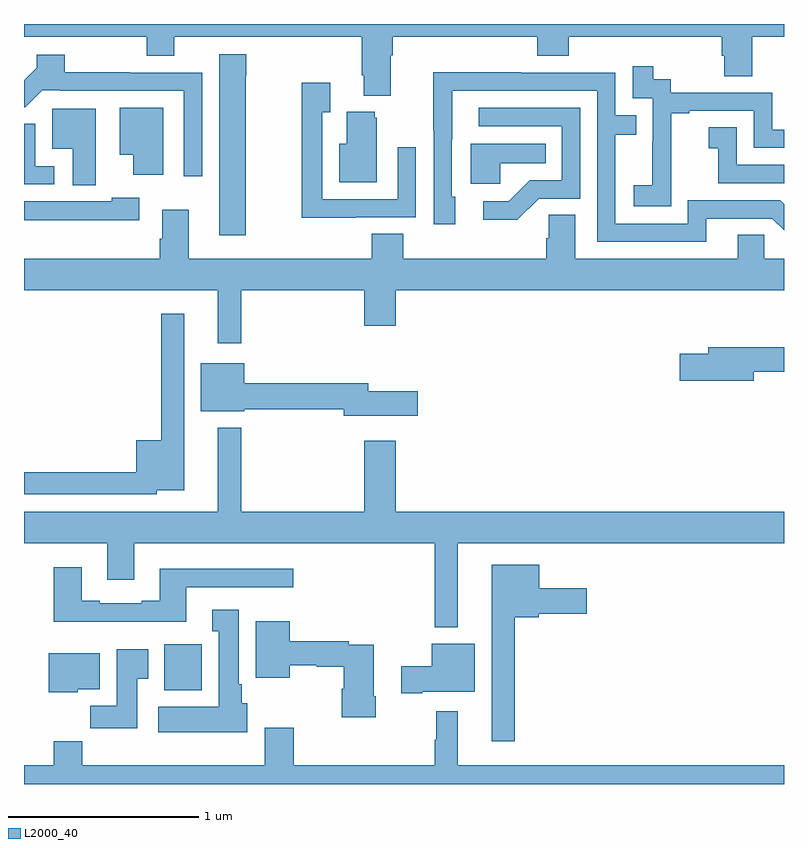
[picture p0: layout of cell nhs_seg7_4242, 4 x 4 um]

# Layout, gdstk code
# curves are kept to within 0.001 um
import gdstk
lib = gdstk.Library(unit=1e-6, precision=1e-09)
def R(c, l, rs):  # rectangles x0, y0, x1, y1
    for r in rs: c.add(gdstk.rectangle(r[:2], r[2:], *l))
def P(c, l, *ps):  # polygons
    for p in ps: c.add(gdstk.Polygon(p, *l))
L2000_40 = (2000, 40)

nhs_seg7_4242 = lib.new_cell('nhs_seg7_4242')
R(nhs_seg7_4242, L2000_40, [(379.739,1014.494,379.936,1014.736)])
P(nhs_seg7_4242, L2000_40, [(380.929,1017.836),(380.942,1017.836),(380.942,1017.932),(381.701,1017.932),(381.701,1017.833),(381.866,1017.833),(381.866,1017.932),(382.673,1017.932),(382.673,1017.834),(382.685,1017.834),(382.685,1017.724),(382.833,1017.724),(382.833,1017.932),(383,1017.932),(383,1018),(379,1018),(379,1017.932),(379.645,1017.932),(379.645,1017.833),(379.792,1017.833),(379.792,1017.932),(380.777,1017.932),(380.777,1017.73),(380.789,1017.73),(380.789,1017.623),(380.929,1017.623)],
  [(380.166,1017.728),(380.171,1017.728),(380.171,1017.841),(380.027,1017.841),(380.027,1016.889),(380.166,1016.889)],
  [(379.938,1017.744),(379.556,1017.744),(379.556,1017.746),(379.215,1017.746),(379.215,1017.838),(379.067,1017.838),(379.067,1017.77),(379,1017.703),(379,1017.561),(379.006,1017.561),(379.096,1017.651),(379.192,1017.651),(379.192,1017.648),(379.842,1017.648),(379.842,1017.198),(379.938,1017.198)],
  [(382.407,1017.247),(382.406,1017.247),(382.406,1017.531),(382.501,1017.531),(382.501,1017.543),(382.842,1017.543),(382.842,1017.348),(383,1017.348),(383,1017.444),(382.938,1017.444),(382.938,1017.639),(382.404,1017.639),(382.404,1017.708),(382.312,1017.708),(382.312,1017.778),(382.203,1017.778),(382.203,1017.609),(382.308,1017.609),(382.308,1017.38),(382.307,1017.38),(382.307,1017.151),(382.209,1017.151),(382.209,1017.041),(382.407,1017.041)],
  [(382.591,1016.976),(382.938,1016.976),(383,1016.914),(383,1017.052),(382.98,1017.072),(382.494,1017.072),(382.494,1016.949),(382.113,1016.949),(382.113,1017.418),(382.223,1017.418),(382.223,1017.519),(382.113,1017.519),(382.113,1017.744),(381.617,1017.744),(381.617,1017.746),(381.154,1017.746),(381.154,1017.439),(381.156,1017.439),(381.156,1016.946),(381.271,1016.946),(381.271,1017.09),(381.252,1017.09),(381.253,1017.648),(382.017,1017.648),(382.017,1016.853),(382.591,1016.853)],
  [(380.747,1016.982),(381.063,1016.982),(381.063,1017.352),(380.967,1017.352),(380.967,1017.078),(380.571,1017.078),(380.571,1017.535),(380.611,1017.535),(380.611,1017.691),(380.463,1017.691),(380.463,1016.981),(380.747,1016.981)],
  [(379.732,1017.559),(379.505,1017.559),(379.505,1017.311),(379.574,1017.311),(379.574,1017.207),(379.732,1017.207)],
  [(381.708,1017.081),(381.927,1017.081),(381.927,1017.558),(381.393,1017.558),(381.393,1017.462),(381.831,1017.462),(381.831,1017.177),(381.662,1017.177),(381.551,1017.066),(381.417,1017.066),(381.417,1016.969),(381.595,1016.969)],
  [(379.378,1017.553),(379.148,1017.553),(379.148,1017.344),(379.256,1017.344),(379.256,1017.152),(379.378,1017.152)],
  [(380.857,1017.507),(380.846,1017.507),(380.846,1017.538),(380.699,1017.538),(380.699,1017.37),(380.66,1017.37),(380.66,1017.167),(380.857,1017.167)],
  [(379.159,1017.252),(379.06,1017.252),(379.06,1017.476),(379,1017.476),(379,1017.156),(379.159,1017.156)],
  [(383,1017.258),(382.752,1017.258),(382.752,1017.457),(382.605,1017.457),(382.605,1017.347),(382.654,1017.347),(382.654,1017.162),(383,1017.162)],
  [(381.507,1017.266),(381.746,1017.266),(381.746,1017.37),(381.35,1017.37),(381.35,1017.158),(381.507,1017.158)],
  [(379.606,1017.085),(379.461,1017.085),(379.461,1017.067),(379,1017.067),(379,1016.966),(379.606,1016.966)],
  [(380.143,1016.6),(380.792,1016.6),(380.792,1016.412),(380.956,1016.412),(380.956,1016.6),(383,1016.6),(383,1016.764),(382.896,1016.764),(382.896,1016.891),(382.757,1016.891),(382.757,1016.764),(381.901,1016.764),(381.901,1016.996),(381.762,1016.996),(381.762,1016.873),(381.749,1016.873),(381.749,1016.764),(380.996,1016.764),(380.996,1016.897),(380.831,1016.897),(380.831,1016.764),(379.867,1016.764),(379.867,1017.022),(379.727,1017.022),(379.727,1016.87),(379.715,1016.87),(379.715,1016.764),(379,1016.764),(379,1016.6),(380.021,1016.6),(380.021,1016.319),(380.143,1016.319)],
  [(379.698,1015.547),(379.843,1015.547),(379.843,1016.476),(379.722,1016.476),(379.722,1015.81),(379.592,1015.81),(379.592,1015.64),(379,1015.64),(379,1015.524),(379.698,1015.524)],
  [(382.84,1016.17),(383,1016.17),(383,1016.299),(382.601,1016.299),(382.601,1016.265),(382.452,1016.265),(382.452,1016.123),(382.84,1016.123)],
  [(381.073,1016.067),(380.812,1016.067),(380.812,1016.108),(380.158,1016.108),(380.158,1016.215),(379.931,1016.215),(379.931,1015.961),(380.158,1015.961),(380.158,1015.972),(380.684,1015.972),(380.684,1015.937),(381.073,1015.937)],
  [(381.283,1015.268),(383,1015.268),(383,1015.432),(380.956,1015.432),(380.956,1015.807),(380.792,1015.807),(380.792,1015.432),(380.143,1015.432),(380.143,1015.876),(380.021,1015.876),(380.021,1015.432),(379,1015.432),(379,1015.268),(379.439,1015.268),(379.439,1015.074),(379.579,1015.074),(379.579,1015.268),(381.162,1015.268),(381.162,1014.824),(381.283,1014.824)],
  [(381.583,1014.878),(381.708,1014.878),(381.708,1014.896),(381.961,1014.896),(381.961,1015.03),(381.712,1015.03),(381.712,1015.153),(381.461,1015.153),(381.461,1014.225),(381.583,1014.225)],
  [(379.855,1015.035),(380.416,1015.035),(380.416,1015.132),(379.715,1015.132),(379.715,1014.964),(379.619,1014.964),(379.619,1014.951),(379.399,1014.951),(379.399,1014.964),(379.303,1014.964),(379.303,1015.141),(379.156,1015.141),(379.156,1014.854),(379.855,1014.854)],
  [(380.176,1014.426),(380.146,1014.426),(380.146,1014.526),(380.131,1014.526),(380.131,1014.916),(379.991,1014.916),(379.991,1014.803),(380.024,1014.803),(380.024,1014.406),(379.707,1014.406),(379.707,1014.272),(380.176,1014.272)],
  [(380.85,1014.463),(380.842,1014.463),(380.842,1014.732),(380.708,1014.732),(380.708,1014.752),(380.398,1014.752),(380.398,1014.856),(380.219,1014.856),(380.219,1014.56),(380.398,1014.56),(380.398,1014.624),(380.541,1014.624),(380.541,1014.616),(380.684,1014.616),(380.684,1014.501),(380.672,1014.501),(380.672,1014.351),(380.85,1014.351)],
  [(381.097,1014.485),(381.373,1014.485),(381.373,1014.739),(381.146,1014.739),(381.146,1014.62),(380.985,1014.62),(380.985,1014.478),(381.097,1014.478)],
  [(379.597,1014.553),(379.654,1014.553),(379.654,1014.709),(379.487,1014.709),(379.487,1014.412),(379.348,1014.412),(379.348,1014.294),(379.597,1014.294)],
  [(379.284,1014.5),(379.399,1014.5),(379.399,1014.688),(379.13,1014.688),(379.13,1014.482),(379.284,1014.482)],
  [(383,1014.1),(381.283,1014.1),(381.283,1014.382),(381.169,1014.382),(381.169,1014.233),(381.162,1014.233),(381.162,1014.1),(380.42,1014.1),(380.42,1014.295),(380.267,1014.295),(380.267,1014.1),(379.307,1014.1),(379.307,1014.224),(379.156,1014.224),(379.156,1014.1),(379,1014.1),(379,1014),(383,1014)])

lib.write_gds('nhs_seg7_4242.gds')
